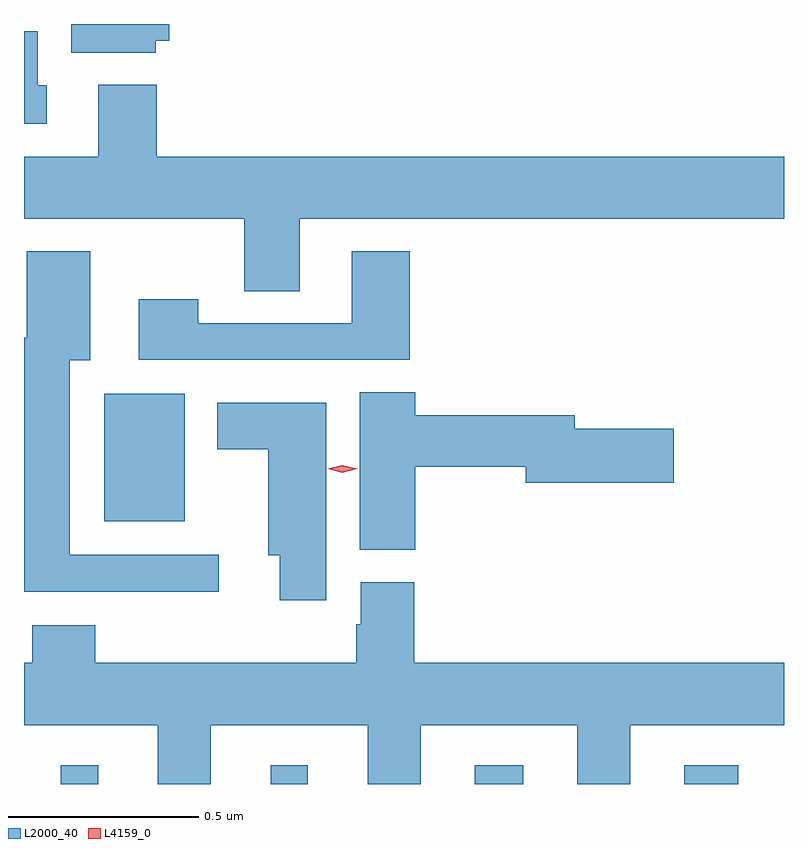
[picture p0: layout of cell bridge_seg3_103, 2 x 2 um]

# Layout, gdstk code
import gdstk
lib = gdstk.Library(unit=1e-6, precision=1e-09)
def R(c, l, rs):  # rectangles x0, y0, x1, y1
    for r in rs: c.add(gdstk.rectangle(r[:2], r[2:], *l))
def P(c, l, *ps):  # polygons
    for p in ps: c.add(gdstk.Polygon(p, *l))
L2000_40 = (2000, 40)
L4159_0 = (4159, 0)

bridge_seg3_103 = lib.new_cell('bridge_seg3_103')
R(bridge_seg3_103, L2000_40, [(570.158,727.401,570.256,727.45), (570.71,727.401,570.808,727.45), (571.247,727.401,571.375,727.45), (571.799,727.401,571.94,727.45), (570.272,728.093,570.484,728.428)])
P(bridge_seg3_103, L2000_40, [(570.408,729.357),(570.443,729.357),(570.443,729.401),(570.185,729.401),(570.185,729.326),(570.408,729.326)],
  [(570.121,729.24),(570.097,729.24),(570.097,729.382),(570.061,729.382),(570.061,729.138),(570.121,729.138)],
  [(570.787,728.888),(572.061,728.888),(572.061,729.052),(570.41,729.052),(570.41,729.241),(570.257,729.241),(570.257,729.052),(570.061,729.052),(570.061,728.888),(570.64,728.888),(570.64,728.698),(570.787,728.698)],
  [(570.574,728.004),(570.181,728.004),(570.181,728.516),(570.235,728.516),(570.235,728.803),(570.068,728.803),(570.068,728.576),(570.061,728.576),(570.061,727.907),(570.574,727.907)],
  [(571.076,728.803),(570.923,728.803),(570.923,728.613),(570.519,728.613),(570.519,728.677),(570.363,728.677),(570.363,728.517),(571.076,728.517)],
  [(571.091,728.236),(571.382,728.236),(571.382,728.194),(571.771,728.194),(571.771,728.336),(571.51,728.336),(571.51,728.372),(571.091,728.372),(571.091,728.432),(570.944,728.432),(570.944,728.017),(571.091,728.017)],
  [(570.856,728.404),(570.569,728.404),(570.569,728.282),(570.704,728.282),(570.704,728.003),(570.734,728.003),(570.734,727.884),(570.856,727.884)],
  [(570.553,727.556),(570.965,727.556),(570.965,727.401),(571.105,727.401),(571.105,727.556),(571.517,727.556),(571.517,727.401),(571.657,727.401),(571.657,727.556),(572.061,727.556),(572.061,727.72),(571.088,727.72),(571.088,727.932),(570.947,727.932),(570.947,727.821),(570.935,727.821),(570.935,727.72),(570.248,727.72),(570.248,727.819),(570.083,727.819),(570.083,727.72),(570.061,727.72),(570.061,727.556),(570.413,727.556),(570.413,727.401),(570.553,727.401)])
P(bridge_seg3_103, L4159_0, [(570.899,728.22),(570.86,728.23),(570.859,728.23),(570.86,728.23),(570.899,728.24),(570.938,728.23),(570.939,728.23),(570.938,728.23)])

lib.write_gds('bridge_seg3_103.gds')
